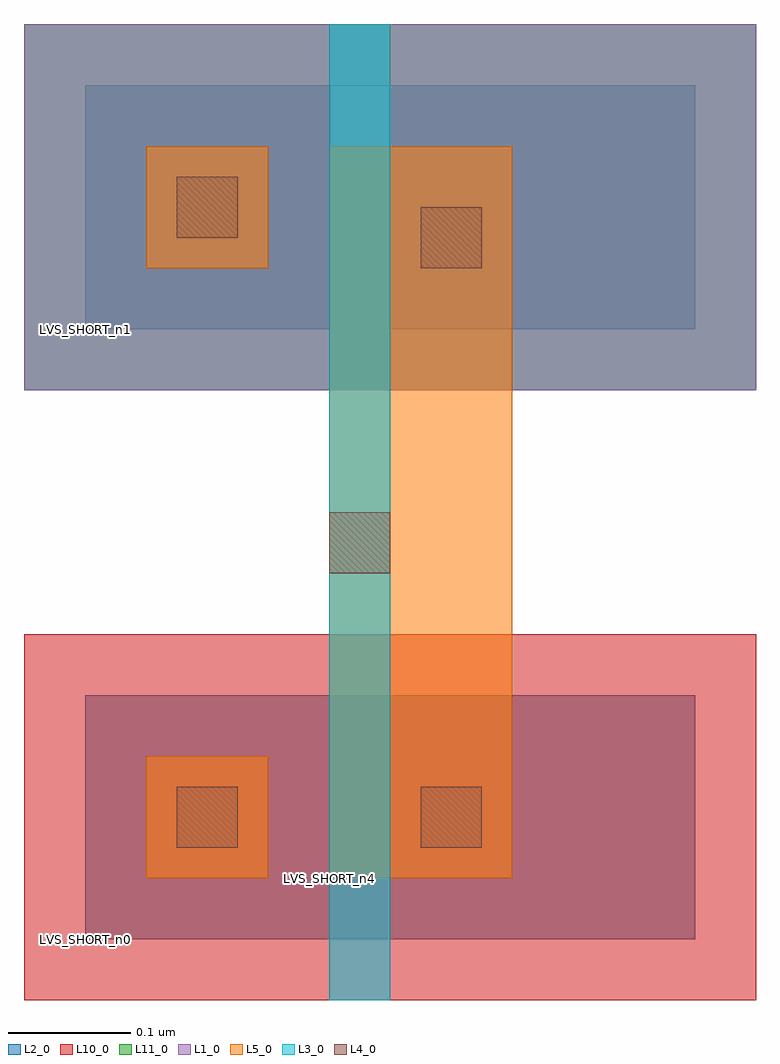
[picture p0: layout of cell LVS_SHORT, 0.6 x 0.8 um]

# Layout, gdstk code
import gdstk
lib = gdstk.Library(unit=1e-6, precision=1e-09)
def R(c, l, rs):  # rectangles x0, y0, x1, y1
    for r in rs: c.add(gdstk.rectangle(r[:2], r[2:], *l))
L1_0 = (1, 0)
L2_0 = (2, 0)
L3_0 = (3, 0)
L4_0 = (4, 0)
L5_0 = (5, 0)
L10_0 = (10, 0)
L11_0 = (11, 0)

lvs_short = lib.new_cell('LVS_SHORT')
R(lvs_short, L1_0, [(-0.05,0.45,0.55,0.75)])
R(lvs_short, L2_0, [(0,0,0.5,0.2), (0,0.5,0.5,0.7)])
R(lvs_short, L3_0, [(0.2,-0.05,0.25,0.75)])
R(lvs_short, L4_0, [(0.075,0.075,0.125,0.125), (0.275,0.075,0.325,0.125), (0.2,0.3,0.25,0.35), (0.275,0.55,0.325,0.6), (0.075,0.575,0.125,0.625)])
R(lvs_short, L5_0, [(0.05,0.05,0.15,0.15), (0.2,0.05,0.35,0.65), (0.05,0.55,0.15,0.65)])
R(lvs_short, L10_0, [(-0.05,-0.05,0.55,0.25)])
R(lvs_short, L11_0, [(-0.05,0.45,0.55,0.75)])
lvs_short.add(gdstk.Label('LVS_SHORT_n0', (0,0), layer=2, texttype=5))
lvs_short.add(gdstk.Label('LVS_SHORT_n1', (0,0.5), layer=2, texttype=5))
lvs_short.add(gdstk.Label('LVS_SHORT_n4', (0.2,0.05), layer=5, texttype=5))

lib.write_gds('LVS_SHORT.gds')
